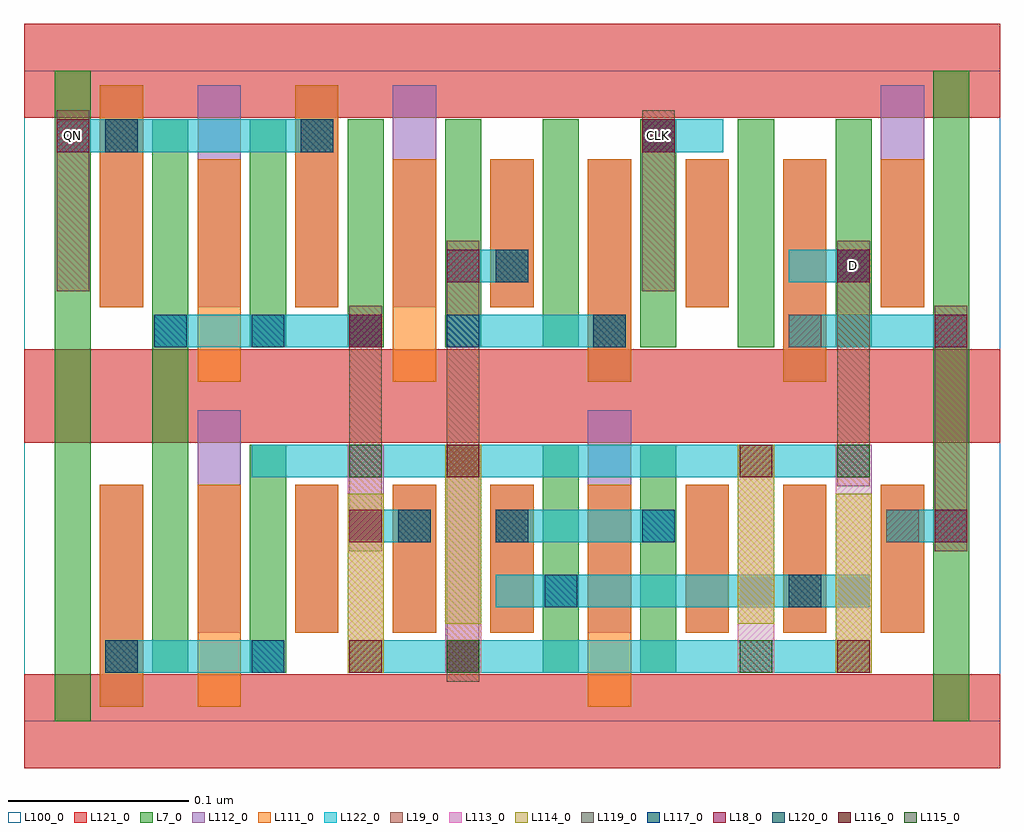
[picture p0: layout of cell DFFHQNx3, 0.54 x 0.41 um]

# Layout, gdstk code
import gdstk
lib = gdstk.Library(unit=1e-6, precision=2.5e-10)
def R(c, l, rs):  # rectangles x0, y0, x1, y1
    for r in rs: c.add(gdstk.rectangle(r[:2], r[2:], *l))
def A(c, l, x, y, w, h, nx, ny, dx, dy):  # array of equal rectangles
    R(c, l, [(x+i*dx, y+j*dy, x+i*dx+w, y+j*dy+h) for i in range(nx) for j in range(ny)])
L7_0 = (7, 0)
L18_0 = (18, 0)
L19_0 = (19, 0)
L100_0 = (100, 0)
L111_0 = (111, 0)
L112_0 = (112, 0)
L113_0 = (113, 0)
L114_0 = (114, 0)
L115_0 = (115, 0)
L116_0 = (116, 0)
L117_0 = (117, 0)
L119_0 = (119, 0)
L120_0 = (120, 0)
L121_0 = (121, 0)
L122_0 = (122, 0)

dffhqnx3 = lib.new_cell('DFFHQNx3')
A(dffhqnx3, L7_0, 0.125, 0.207, 0.02, 0.126, 7, 1, 0.054, 0)
R(dffhqnx3, L7_0, [(0.017,0,0.037,0.18), (0.503,0,0.523,0.18), (0.071,0.027,0.091,0.18), (0.125,0.027,0.145,0.153), (0.287,0.027,0.307,0.153), (0.341,0.027,0.361,0.153), (0.017,0.18,0.037,0.36), (0.071,0.18,0.091,0.333), (0.503,0.18,0.523,0.36)])
R(dffhqnx3, L18_0, [(0.234,0.027,0.252,0.045), (0.18,0.099,0.198,0.117), (0.504,0.099,0.522,0.117), (0.18,0.207,0.198,0.225), (0.504,0.207,0.522,0.225), (0.234,0.243,0.252,0.261), (0.45,0.243,0.468,0.261), (0.018,0.315,0.036,0.333), (0.342,0.315,0.36,0.333)])
R(dffhqnx3, L19_0, [(0.234,0.022,0.252,0.266), (0.18,0.094,0.198,0.23), (0.504,0.094,0.522,0.23), (0.45,0.13,0.468,0.266), (0.018,0.238,0.036,0.338), (0.342,0.238,0.36,0.338)])
R(dffhqnx3, L100_0, [(0,0,0.54,0.36)])
A(dffhqnx3, L111_0, 0.15, 0.049, 0.024, 0.082, 3, 1, 0.054, 0)
A(dffhqnx3, L111_0, 0.366, 0.049, 0.024, 0.082, 3, 1, 0.054, 0)
A(dffhqnx3, L111_0, 0.096, 0.188, 0.024, 0.123, 4, 1, 0.108, 0)
A(dffhqnx3, L111_0, 0.258, 0.229, 0.024, 0.082, 3, 1, 0.108, 0)
R(dffhqnx3, L111_0, [(0.042,0.008,0.066,0.131), (0.096,0.008,0.12,0.131), (0.312,0.008,0.336,0.131), (0.042,0.229,0.066,0.352), (0.15,0.229,0.174,0.352)])
A(dffhqnx3, L112_0, 0.15, 0.049, 0.024, 0.082, 3, 1, 0.054, 0)
A(dffhqnx3, L112_0, 0.366, 0.049, 0.024, 0.082, 3, 1, 0.054, 0)
A(dffhqnx3, L112_0, 0.042, 0.229, 0.024, 0.123, 4, 1, 0.054, 0)
R(dffhqnx3, L112_0, [(0.042,0.008,0.066,0.131), (0.096,0.049,0.12,0.172), (0.312,0.049,0.336,0.172), (0.312,0.188,0.336,0.311), (0.42,0.188,0.444,0.311), (0.258,0.229,0.282,0.311), (0.366,0.229,0.39,0.311), (0.474,0.229,0.498,0.352)])
R(dffhqnx3, L113_0, [(0.179,0.027,0.199,0.153), (0.233,0.027,0.253,0.153), (0.395,0.027,0.415,0.153), (0.449,0.027,0.469,0.153)])
R(dffhqnx3, L114_0, [(0.179,0.027,0.199,0.126), (0.449,0.027,0.469,0.126), (0.233,0.054,0.253,0.153), (0.395,0.054,0.415,0.153)])
R(dffhqnx3, L115_0, [(0.234,0.027,0.252,0.045), (0.396,0.027,0.414,0.045), (0.18,0.135,0.198,0.153), (0.45,0.135,0.468,0.153)])
R(dffhqnx3, L116_0, [(0.18,0.027,0.198,0.045), (0.45,0.027,0.468,0.045), (0.234,0.135,0.252,0.153), (0.396,0.135,0.414,0.153)])
A(dffhqnx3, L117_0, 0.072, 0.207, 0.018, 0.018, 4, 1, 0.054, 0)
R(dffhqnx3, L117_0, [(0.126,0.027,0.144,0.045), (0.288,0.063,0.306,0.081), (0.342,0.099,0.36,0.117), (0.45,0.243,0.468,0.261), (0.342,0.315,0.36,0.333)])
R(dffhqnx3, L119_0, [(0.045,0.027,0.063,0.045), (0.423,0.063,0.441,0.081), (0.207,0.099,0.225,0.117), (0.261,0.099,0.279,0.117), (0.477,0.099,0.495,0.117), (0.315,0.207,0.333,0.225), (0.423,0.207,0.441,0.225), (0.261,0.243,0.279,0.261), (0.045,0.315,0.063,0.333), (0.153,0.315,0.171,0.333)])
R(dffhqnx3, L120_0, [(0.045,0.027,0.063,0.045), (0.423,0.063,0.441,0.081), (0.207,0.099,0.225,0.117), (0.261,0.099,0.279,0.117), (0.315,0.207,0.333,0.225), (0.261,0.243,0.279,0.261), (0.045,0.315,0.063,0.333), (0.153,0.315,0.171,0.333)])
A(dffhqnx3, L121_0, 0, -0.026, 0.54, 0.052, 1, 3, 0, 0.18)
R(dffhqnx3, L122_0, [(0.045,0.027,0.144,0.045), (0.18,0.027,0.468,0.045), (0.261,0.063,0.468,0.081), (0.18,0.099,0.225,0.117), (0.261,0.099,0.36,0.117), (0.477,0.099,0.522,0.117), (0.126,0.135,0.468,0.153), (0.072,0.207,0.198,0.225), (0.234,0.207,0.333,0.225), (0.423,0.207,0.522,0.225), (0.234,0.243,0.279,0.261), (0.423,0.243,0.468,0.261), (0.018,0.315,0.171,0.333), (0.342,0.315,0.387,0.333)])
dffhqnx3.add(gdstk.Label('QN', (0.027,0.324), layer=19, texttype=251))
dffhqnx3.add(gdstk.Label('D', (0.459,0.252), layer=19, texttype=251))
dffhqnx3.add(gdstk.Label('CLK', (0.351,0.324), layer=19, texttype=251))

lib.write_gds('DFFHQNx3.gds')
